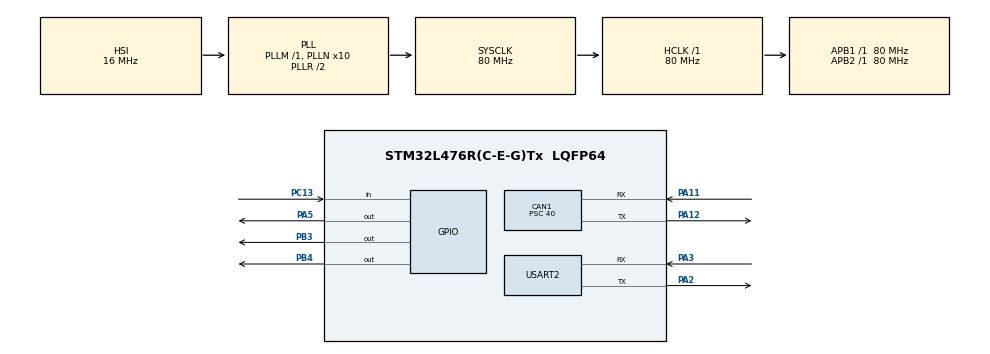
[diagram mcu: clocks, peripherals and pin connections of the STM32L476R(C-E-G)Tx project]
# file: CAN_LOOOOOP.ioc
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CAN1.BS1=CAN_BS1_2TQ
CAN1.BS2=CAN_BS2_1TQ
CAN1.CalculateBaudRate=500000
CAN1.CalculateTimeBit=2000.00
CAN1.CalculateTimeQuantum=500.0
CAN1.Mode=CAN_MODE_NORMAL
CAN1.Prescaler=40
Mcu.Family=STM32L4
Mcu.Name=STM32L476R(C-E-G)Tx
Mcu.Package=LQFP64
NVIC.CAN1_RX0_IRQn=true\:0\:0\:false\:false\:true\:true\:true
NVIC.CAN1_RX1_IRQn=true\:0\:0\:false\:false\:true\:true\:true
NVIC.PriorityGroup=NVIC_PRIORITYGROUP_4
PA11.Mode=CAN_Activate
PA11.Signal=CAN1_RX
PA12.Mode=CAN_Activate
PA12.Signal=CAN1_TX
PA13\ (JTMS-SWDIO).Mode=Serial_Wire
PA13\ (JTMS-SWDIO).Signal=SYS_JTMS-SWDIO
PA14\ (JTCK-SWCLK).Mode=Serial_Wire
PA14\ (JTCK-SWCLK).Signal=SYS_JTCK-SWCLK
PA2.Mode=Asynchronous
PA2.Signal=USART2_TX
PA3.Mode=Asynchronous
PA3.Signal=USART2_RX
PA5.Signal=GPIO_Output
PB3\ (JTDO-TRACESWO).Signal=GPIO_Output
PB4\ (NJTRST).Signal=GPIO_Output
PC13.Signal=GPIO_Input
ProjectManager.HeapSize=0x200
ProjectManager.StackSize=0x400
ProjectManager.TargetToolchain=TrueSTUDIO
RCC.ADCFreq_Value=64000000
RCC.AHBFreq_Value=80000000
RCC.APB1Freq_Value=80000000
RCC.APB1TimFreq_Value=80000000
RCC.APB2Freq_Value=80000000
RCC.APB2TimFreq_Value=80000000
RCC.CortexFreq_Value=80000000
RCC.HCLKFreq_Value=80000000
RCC.HSE_VALUE=8000000
RCC.HSI_VALUE=16000000
RCC.LSE_VALUE=32768
RCC.MSI_VALUE=4000000
RCC.PLLN=10
RCC.PLLSourceVirtual=RCC_PLLSOURCE_HSI
RCC.SYSCLKFreq_VALUE=80000000
RCC.SYSCLKSource=RCC_SYSCLKSOURCE_PLLCLK
RCC.USBFreq_Value=64000000
RCC.VCOOutputFreq_Value=160000000
USART2.VirtualMode-Asynchronous=VM_ASYNC
board=custom

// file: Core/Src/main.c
/* USER CODE BEGIN Header */
/**
  ******************************************************************************
  * @file           : main.c
  * @brief          : Main program body
  ******************************************************************************
  * @attention
  *
  * <h2><center>&copy; Copyright (c) 2021 STMicroelectronics.
  * All rights reserved.</center></h2>
  *
  * This software component is licensed by ST under BSD 3-Clause license,
  * the "License"; You may not use this file except in compliance with the
  * License. You may obtain a copy of the License at:
  *                        opensource.org/licenses/BSD-3-Clause
  *
  ******************************************************************************
  */
/* USER CODE END Header */
#include "main.h"

CAN_HandleTypeDef hcan1;

UART_HandleTypeDef huart2;

void SystemClock_Config(void);
static void MX_GPIO_Init(void);
static void MX_CAN1_Init(void);
static void MX_USART2_UART_Init(void);

/* USER CODE BEGIN 0 */
CAN_TxHeaderTypeDef TxHeader;
CAN_RxHeaderTypeDef RxHeader;
uint32_t TxMailbox;
uint8_t TxData[8];
uint8_t RxData[8];
uint8_t count = 0;
void HAL_CAN_RxFifo0MsgPendingCallback(CAN_HandleTypeDef *hcan)
{
	HAL_CAN_GetRxMessage(hcan, CAN_RX_FIFO0, &RxHeader, RxData);
	HAL_GPIO_TogglePin (GPIOA, GPIO_PIN_5);
}

/* USER CODE END 0 */

int main(void)
{

  /* MCU Configuration--------------------------------------------------------*/

  /* Reset of all peripherals, Initializes the Flash interface and the Systick. */
  HAL_Init();

  /* Configure the system clock */
  SystemClock_Config();

  /* Initialize all configured peripherals */
  MX_GPIO_Init();
  MX_CAN1_Init();
  MX_USART2_UART_Init();
  /* USER CODE BEGIN 2 */
  HAL_CAN_Start(&hcan1);
  HAL_CAN_ActivateNotification(&hcan1, CAN_IT_RX_FIFO0_MSG_PENDING);
  TxHeader.DLC = 1;
  TxHeader.ExtId = 0;
  TxHeader.IDE = CAN_ID_STD;
  TxHeader.RTR = CAN_RTR_DATA;
  TxHeader.StdId = 0x103;
  TxHeader.TransmitGlobalTime = DISABLE;
  TxData[0] = 0x66;
  /* USER CODE END 2 */

  /* Infinite loop */
  while (1)
  {

    /* USER CODE BEGIN 3 */
	if (RxData[0]==0x11 && RxData[1]==0x66)
	{
				HAL_GPIO_WritePin(GPIOB,GPIO_PIN_4,GPIO_PIN_SET);
				HAL_GPIO_WritePin(GPIOB,GPIO_PIN_3,GPIO_PIN_SET);
				HAL_Delay(0.1);
				HAL_GPIO_WritePin(GPIOB,GPIO_PIN_3,GPIO_PIN_RESET);
			    HAL_Delay(0.1);
	}
	  /*if (HAL_CAN_AddTxMessage(&hcan1, &TxHeader, TxData, &TxMailbox) != HAL_OK)
	  		  {
	  			 Error_Handler ();
	  		  }
	  		  HAL_Delay(1000);*/

  }
  /* USER CODE END 3 */
}

void SystemClock_Config(void)
{
  RCC_OscInitTypeDef RCC_OscInitStruct = {0};
  RCC_ClkInitTypeDef RCC_ClkInitStruct = {0};
  RCC_PeriphCLKInitTypeDef PeriphClkInit = {0};

  /** Initializes the RCC Oscillators according to the specified parameters
  * in the RCC_OscInitTypeDef structure.
  */
  RCC_OscInitStruct.OscillatorType = RCC_OSCILLATORTYPE_HSI;
  RCC_OscInitStruct.HSIState = RCC_HSI_ON;
  RCC_OscInitStruct.HSICalibrationValue = RCC_HSICALIBRATION_DEFAULT;
  RCC_OscInitStruct.PLL.PLLState = RCC_PLL_ON;
  RCC_OscInitStruct.PLL.PLLSource = RCC_PLLSOURCE_HSI;
  RCC_OscInitStruct.PLL.PLLM = 1;
  RCC_OscInitStruct.PLL.PLLN = 10;
  RCC_OscInitStruct.PLL.PLLP = RCC_PLLP_DIV7;
  RCC_OscInitStruct.PLL.PLLQ = RCC_PLLQ_DIV2;
  RCC_OscInitStruct.PLL.PLLR = RCC_PLLR_DIV2;
  if (HAL_RCC_OscConfig(&RCC_OscInitStruct) != HAL_OK)
  {
    Error_Handler();
  }
  /** Initializes the CPU, AHB and APB buses clocks
  */
  RCC_ClkInitStruct.ClockType = RCC_CLOCKTYPE_HCLK|RCC_CLOCKTYPE_SYSCLK
                              |RCC_CLOCKTYPE_PCLK1|RCC_CLOCKTYPE_PCLK2;
  RCC_ClkInitStruct.SYSCLKSource = RCC_SYSCLKSOURCE_PLLCLK;
  RCC_ClkInitStruct.AHBCLKDivider = RCC_SYSCLK_DIV1;
  RCC_ClkInitStruct.APB1CLKDivider = RCC_HCLK_DIV1;
  RCC_ClkInitStruct.APB2CLKDivider = RCC_HCLK_DIV1;

  if (HAL_RCC_ClockConfig(&RCC_ClkInitStruct, FLASH_LATENCY_4) != HAL_OK)
  {
    Error_Handler();
  }
  PeriphClkInit.PeriphClockSelection = RCC_PERIPHCLK_USART2;
  PeriphClkInit.Usart2ClockSelection = RCC_USART2CLKSOURCE_PCLK1;
  if (HAL_RCCEx_PeriphCLKConfig(&PeriphClkInit) != HAL_OK)
  {
    Error_Handler();
  }
  /** Configure the main internal regulator output voltage
  */
  if (HAL_PWREx_ControlVoltageScaling(PWR_REGULATOR_VOLTAGE_SCALE1) != HAL_OK)
  {
    Error_Handler();
  }
}

static void MX_CAN1_Init(void)
{

  hcan1.Instance = CAN1;
  hcan1.Init.Prescaler = 40;
  hcan1.Init.Mode = CAN_MODE_NORMAL;
  hcan1.Init.SyncJumpWidth = CAN_SJW_1TQ;
  hcan1.Init.TimeSeg1 = CAN_BS1_2TQ;
  hcan1.Init.TimeSeg2 = CAN_BS2_1TQ;
  hcan1.Init.TimeTriggeredMode = DISABLE;
  hcan1.Init.AutoBusOff = DISABLE;
  hcan1.Init.AutoWakeUp = DISABLE;
  hcan1.Init.AutoRetransmission = DISABLE;
  hcan1.Init.ReceiveFifoLocked = DISABLE;
  hcan1.Init.TransmitFifoPriority = DISABLE;
  if (HAL_CAN_Init(&hcan1) != HAL_OK)
  {
    Error_Handler();
  }
  /* USER CODE BEGIN CAN1_Init 2 */
  CAN_FilterTypeDef canfilterconfig;
  canfilterconfig.FilterActivation = CAN_FILTER_ENABLE;
  canfilterconfig.FilterBank = 10;
  canfilterconfig.FilterFIFOAssignment = CAN_RX_FIFO0;
  canfilterconfig.FilterIdHigh = 0x103<<5;
  canfilterconfig.FilterIdLow = 0x0000;
  canfilterconfig.FilterMaskIdHigh = 0x103<<5;
  canfilterconfig.FilterMaskIdLow = 0x0000;
  canfilterconfig.FilterMode = CAN_FILTERMODE_IDMASK;
  canfilterconfig.FilterScale = CAN_FILTERSCALE_32BIT;
  canfilterconfig.SlaveStartFilterBank = 0;
  HAL_CAN_ConfigFilter(&hcan1, &canfilterconfig);
  /* USER CODE END CAN1_Init 2 */

}

static void MX_USART2_UART_Init(void)
{

  huart2.Instance = USART2;
  huart2.Init.BaudRate = 115200;
  huart2.Init.WordLength = UART_WORDLENGTH_8B;
  huart2.Init.StopBits = UART_STOPBITS_1;
  huart2.Init.Parity = UART_PARITY_NONE;
  huart2.Init.Mode = UART_MODE_TX_RX;
  huart2.Init.HwFlowCtl = UART_HWCONTROL_NONE;
  huart2.Init.OverSampling = UART_OVERSAMPLING_16;
  huart2.Init.OneBitSampling = UART_ONE_BIT_SAMPLE_DISABLE;
  huart2.AdvancedInit.AdvFeatureInit = UART_ADVFEATURE_NO_INIT;
  if (HAL_UART_Init(&huart2) != HAL_OK)
  {
    Error_Handler();
  }

}

static void MX_GPIO_Init(void)
{
  GPIO_InitTypeDef GPIO_InitStruct = {0};

  /* GPIO Ports Clock Enable */
  __HAL_RCC_GPIOC_CLK_ENABLE();
  __HAL_RCC_GPIOA_CLK_ENABLE();
  __HAL_RCC_GPIOB_CLK_ENABLE();

  /*Configure GPIO pin Output Level */
  HAL_GPIO_WritePin(GPIOA, GPIO_PIN_5, GPIO_PIN_RESET);

  /*Configure GPIO pin Output Level */
  HAL_GPIO_WritePin(GPIOB, GPIO_PIN_3|GPIO_PIN_4, GPIO_PIN_RESET);

  /*Configure GPIO pin : PC13 */
  GPIO_InitStruct.Pin = GPIO_PIN_13;
  GPIO_InitStruct.Mode = GPIO_MODE_INPUT;
  GPIO_InitStruct.Pull = GPIO_NOPULL;
  HAL_GPIO_Init(GPIOC, &GPIO_InitStruct);

  /*Configure GPIO pin : PA5 */
  GPIO_InitStruct.Pin = GPIO_PIN_5;
  GPIO_InitStruct.Mode = GPIO_MODE_OUTPUT_PP;
  GPIO_InitStruct.Pull = GPIO_NOPULL;
  GPIO_InitStruct.Speed = GPIO_SPEED_FREQ_LOW;
  HAL_GPIO_Init(GPIOA, &GPIO_InitStruct);

  /*Configure GPIO pins : PB3 PB4 */
  GPIO_InitStruct.Pin = GPIO_PIN_3|GPIO_PIN_4;
  GPIO_InitStruct.Mode = GPIO_MODE_OUTPUT_PP;
  GPIO_InitStruct.Pull = GPIO_NOPULL;
  GPIO_InitStruct.Speed = GPIO_SPEED_FREQ_LOW;
  HAL_GPIO_Init(GPIOB, &GPIO_InitStruct);

}

void Error_Handler(void)
{
  __disable_irq();
  while (1)
  {
  }
}

/************************ (C) COPYRIGHT STMicroelectronics *****END OF FILE****/
